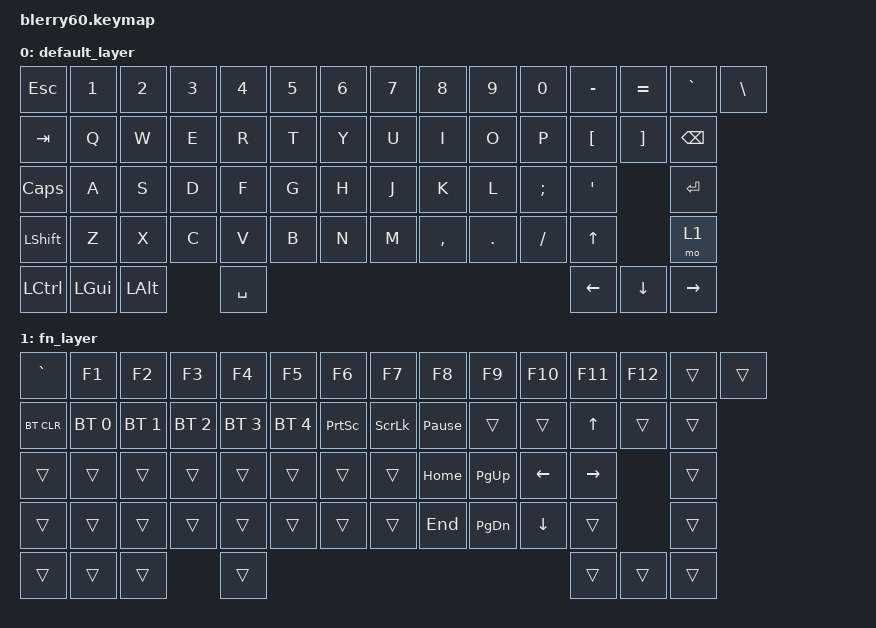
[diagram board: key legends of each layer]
#include <behaviors.dtsi>
#include <dt-bindings/zmk/keys.h>
#include <dt-bindings/zmk/bt.h>
#include <dt-bindings/zmk/outputs.h>
#include <dt-bindings/zmk/rgb.h>
#include <dt-bindings/zmk/ext_power.h>

// See: layout.h for layout options

/ {
	keymap {
		compatible = "zmk,keymap";

		default_layer {
// -----------------------------------------------------------------------------------------
//   | ESC   | 1     | 2     | 3     | 4     | 5     | 6     | 7     | 8     | 9     | 0     | -     | =     | GRAVE     | \   |
//   | TAB   | Q     | W     | E     | R     | T     | Y     | U     | I     | O     | P     | [     | ]     | BACKSPACE     |  
//   | CAPS  | A     | S     | D     | F     | G     | H     | J     | K     | L     | ;     | '     |         ENTER         |
//   | SHIFT | Z     | X     | C     | V     | B     | N     | M     | ,     | .     | /     |                UP | FN     |
//   | CTRL  |       | ALT   |                 SPACE                                                  | LEFT   | DOWN  | RIGHT   |

			bindings = <
    &kp ESC          &kp N1           &kp N2        &kp N3        &kp N4        &kp N5           &kp N6           &kp N7           &kp N8           &kp N9           &kp N0           &kp MINUS        &kp EQL          &kp GRAVE       &kp BSLH
    &kp TAB          &kp Q            &kp W         &kp E         &kp R         &kp T            &kp Y            &kp U            &kp I            &kp O            &kp P            &kp LBKT         &kp RBKT         &kp BSPC
    &kp CAPS         &kp A            &kp S         &kp D         &kp F         &kp G            &kp H            &kp J            &kp K            &kp L            &kp SCLN         &kp QUOT                          &kp ENTER
    &kp LSHFT        &kp Z            &kp X         &kp C         &kp V         &kp B            &kp N            &kp M            &kp CMMA         &kp DOT          &kp FSLH         &kp UP                         &mo 1
	&kp LCTRL        &kp LGUI         &kp LALT                    &kp SPACE                                                                                                           &kp LEFT         &kp DOWN         &kp RIGHT
			>;
		};

		fn_layer {
// -----------------------------------------------------------------------------------------
//   | GRAVE | F1    | F2    | F3    | F4    | F5    | F6    | F7    | F8    | F9    | F10   | F11   | F12   | DEL    |
//   | BT_CLR|PROF 0 |PROF 1 |PROF 2 |PROF 3 |PROF 4 | PSCR  | SCLK  | PAUSE | TRANS | TRANS | UP    | TRANS | TRANS  |       
//   | TRANS | TRANS | TRANS | TRANS | TRANS | TRANS | TRANS | TRANS | HOME  | PG_UP | LEFT  | RIGHT |         TRANS  |  
//   | SHIFT | TRANS | TRANS | TRANS | TRANS | TRANS | TRANS | TRANS | TRANS | END   | PG_DN | DOWN  | TRANS |  TRANS |
//   | TRANS | TRANS | TRANS |                        TRANS |                                  TRANS | TRANS | TRANS |

			bindings = <
    &kp GRAVE        &kp F1           &kp F2           &kp F3          &kp F4          &kp F5        &kp F6           &kp F7           &kp F8           &kp F9           &kp F10          &kp F11          &kp F12       &trans          &trans
    &bt BT_CLR       &bt BT_SEL 0     &bt BT_SEL 1     &bt BT_SEL 2    &bt BT_SEL 3    &bt BT_SEL 4  &kp PSCRN        &kp SLCK         &kp PAUSE_BREAK  &trans           &trans           &kp UP           &trans        &trans      
    &trans           &trans           &trans           &trans          &trans          &trans        &trans           &trans           &kp HOME         &kp PG_UP        &kp LEFT         &kp RIGHT                      &trans
    &trans           &trans           &trans           &trans          &trans          &trans        &trans           &trans           &kp END          &kp PG_DN        &kp DOWN         &trans                         &trans
    &trans           &trans           &trans                           &trans                                                                                                             &trans           &trans        &trans
			>;
		};

	};
};
